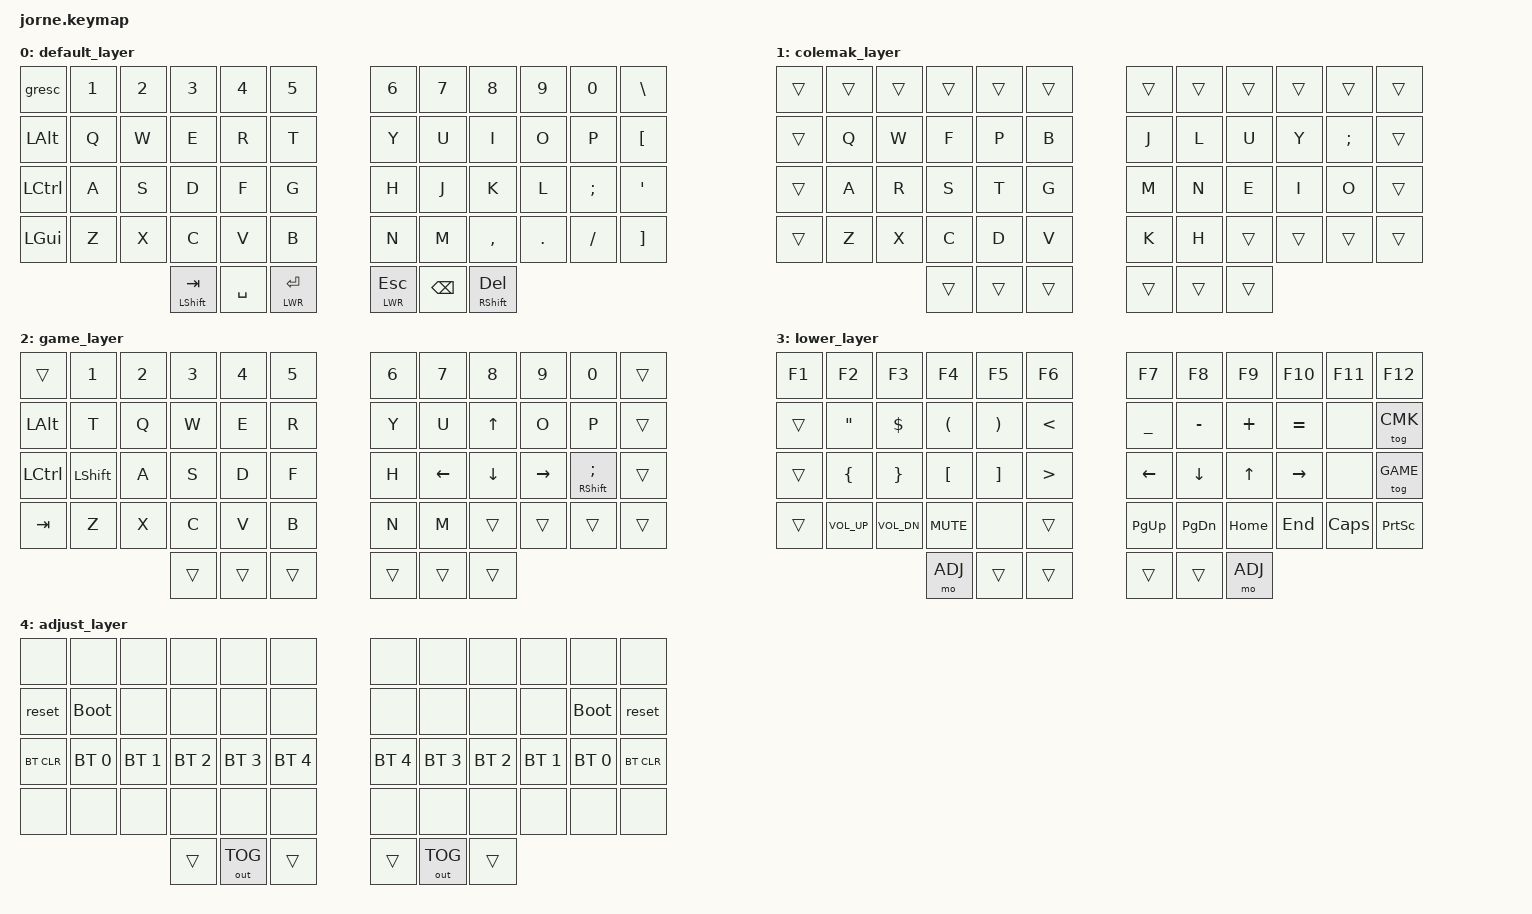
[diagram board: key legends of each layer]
/*
 * Copyright (c) 2020 The ZMK Contributors
 *
 * SPDX-License-Identifier: MIT
 */

#include <behaviors.dtsi>
#include <dt-bindings/zmk/keys.h>
#include <dt-bindings/zmk/bt.h>
#include <dt-bindings/zmk/outputs.h>

#define DEF 0
#define CMK 1
#define GAME 2
#define LWR 3
#define ADJ 4

#define VU C_VOL_UP
#define VD C_VOL_DN
#define VM C_MUTE

/ {
        keymap {
                compatible = "zmk,keymap";

                default_layer {
// -----------------------------------------------------------------------------------------
//        |   ~  |  1  |  2  |  3  |  4  |  5  |   |  6  |  7   |  8  |  9  |  0  |  \  |
//        | LALT |  Q  |  W  |  E  |  R  |  T  |   |  Y  |  U   |  I  |  O  |  P  |  [  |
//        | CTRL |  A  |  S  |  D  |  F  |  G  |   |  H  |  J   |  K  |  L  |  ;  |  '  |
//        | LGUI |  Z  |  X  |  C  |  V  |  B  |   |  N  |  M   |  ,  |  .  |  /  |  [  |
//                           | TAB | SPC | LWR |   | LWR | BKSP | DEL |
                        bindings = <
            &gresc      &kp N1   &kp N2   &kp N3   &kp N4   &kp N5      &kp N6   &kp N7   &kp N8    &kp N9   &kp N0    &kp BSLH
            &kp LALT    &kp Q    &kp W    &kp E    &kp R    &kp T       &kp Y    &kp U    &kp I     &kp O    &kp P     &kp LBKT
            &kp LCTRL   &kp A    &kp S    &kp D    &kp F    &kp G       &kp H    &kp J    &kp K     &kp L    &kp SEMI  &kp SQT
            &kp LGUI    &kp Z    &kp X    &kp C    &kp V    &kp B       &kp N    &kp M    &kp COMMA &kp DOT  &kp FSLH  &kp RBKT
                              &mt LSHFT TAB &kp SPACE &lt LWR RET       &lt LWR ESC &kp BSPC &mt RSHFT DEL
                        >;
                };
                colemak_layer {
// -----------------------------------------------------------------------------------------
//        |   ~  |  1  |  2  |  3  |  4  |  5  |   |  6  |  7   |  8  |  9  |  0  |  \  |
//        | LALT |  Q  |  W  |  F  |  P  |  B  |   |  J  |  L   |  U  |  Y  |  ;  |  [  |
//        | CTRL |  A  |  R  |  S  |  T  |  G  |   |  M  |  N   |  E  |  I  |  O  |  '  |
//        | LGUI |  Z  |  X  |  C  |  D  |  V  |   |  K  |  H   |  ,  |  .  |  /  |  [  |
//                           | TAB | SPC | LWR |   | LWR | BKSP | DEL |
                        bindings = <
            &trans  &trans  &trans  &trans  &trans  &trans      &trans  &trans  &trans  &trans  &trans  &trans
            &trans  &kp Q   &kp W   &kp F   &kp P   &kp B       &kp J   &kp L   &kp U   &kp Y   &kp SEMI  &trans
            &trans  &kp A   &kp R   &kp S   &kp T   &kp G       &kp M   &kp N   &kp E   &kp I   &kp O   &trans
            &trans  &kp Z   &kp X   &kp C   &kp D   &kp V       &kp K   &kp H   &trans  &trans  &trans  &trans
                                    &trans  &trans  &trans      &trans  &trans  &trans
                        >;
                };
                game_layer {
// -----------------------------------------------------------------------------------------
//        |   ~  |  1  |  2  |  3  |  4  |  5  |   |  6  |  7   |  8   |  9  |  0  |  \  |
//        | LALT |  T  |  Q  |  W  |  E  |  R  |   |  Y  |  U   |  UP  |  O  |  P  |  [  |
//        | CTRL | SFT |  A  |  S  |  D  |  F  |   |  M  | LEFT | DOWN |RIGHT|  ;  |  '  |
//        | TAB  |  Z  |  X  |  C  |  V  |  B  |   |  N  |  M   |  ,   |  .  |  /  |  [  |
//                           | TAB | SPC | LWR |   | LWR | BKSP | DEL  |
                        bindings = <
            &trans     &kp N1    &kp N2  &kp N3  &kp N4  &kp N5      &kp N6  &kp N7   &kp N8    &kp N9      &kp N0         &trans
            &kp LALT   &kp T     &kp Q   &kp W   &kp E   &kp R       &kp Y   &kp U    &kp UP    &kp O       &kp P          &trans
            &kp LCTRL  &kp LSHFT &kp A   &kp S   &kp D   &kp F       &kp H   &kp LEFT &kp DOWN  &kp RIGHT   &mt RSHFT SEMI &trans
            &kp TAB    &kp Z     &kp X   &kp C   &kp V   &kp B       &kp N   &kp M    &trans    &trans      &trans         &trans
                                         &trans  &trans  &trans      &trans  &trans   &trans
                        >;
                };
                lower_layer {
// -----------------------------------------------------------------------------------------
//       |  F1  |  F2 |  F3 |  F4 |  F5 |  F6 |   |  F7  |  F8  |  F9 | F10 | F11 | F12 |
//       | LALT |  "  |  $  |  (  |  )  |  <  |   |  _   |   -  |  +  |  =  |     |  CMK  |
//       | CTRL |  {  |  }  |  [  |  ]  |  >  |   | LEFT | DOWN | UP  |RIGHT|     |  GME  |
//       | TAB  |  VU |  VD |  VM |     |     |   | PG_UP| PG_DN| HOME| END |CAPS | PSCRN |
//                          | TAB | SPC | LWR |   | LWR | BKSP | DEL  |
                        bindings = <
          &kp F1 &kp F2    &kp F3   &kp F4   &kp F5    &kp F6           &kp F7     &kp F8    &kp F9    &kp F10   &kp F11  &kp F12
          &trans &kp DQT   &kp DLLR &kp LPAR &kp RPAR  &kp LT           &kp UNDER  &kp MINUS &kp PLUS  &kp EQUAL &none    &tog CMK
          &trans &kp LBRC  &kp RBRC &kp LBKT &kp RBKT  &kp GT           &kp LEFT   &kp DOWN  &kp UP    &kp RIGHT &none    &tog GAME
          &trans &kp VU    &kp VD   &kp VM   &none     &trans           &kp PG_UP  &kp PG_DN &kp HOME  &kp END  &kp CAPS   &kp PSCRN
                                    &mo ADJ  &trans    &trans           &trans     &trans    &mo ADJ
                        >;
                };

                adjust_layer {
// -----------------------------------------------------------------------------------------
//       | RST  |BLDR |     |     |     |     |   |     |     |     |     | BLDR| RST  |
//       | BTCLR| BT0 | BT1 | BT2 | BT3 | BT4 |   | BT4 | BT3 | BT2 | BT1 | BT0 | BTCLR|
//       |      |     |     |     |     |     |   |     |     |     |     |     |      |
//                          |     |     |     |   |     |     |     |
                        bindings = <
                        &none &none &none &none &none &none &none &none &none &none &none &none
   &reset &bootloader        &none        &none        &none        &none              &none        &none        &none        &none             &bootloader &reset
          &bt BT_CLR   &bt BT_SEL 0 &bt BT_SEL 1 &bt BT_SEL 2 &bt BT_SEL 3 &bt BT_SEL 4       &bt BT_SEL 4 &bt BT_SEL 3 &bt BT_SEL 2 &bt BT_SEL 1 &bt BT_SEL 0  &bt BT_CLR
          &none        &none        &none        &none        &none        &none              &none        &none        &none        &none        &none         &none
                                                                    &trans &out OUT_TOG &trans   &trans &out OUT_TOG &trans
                        >;
                };
        };
};
